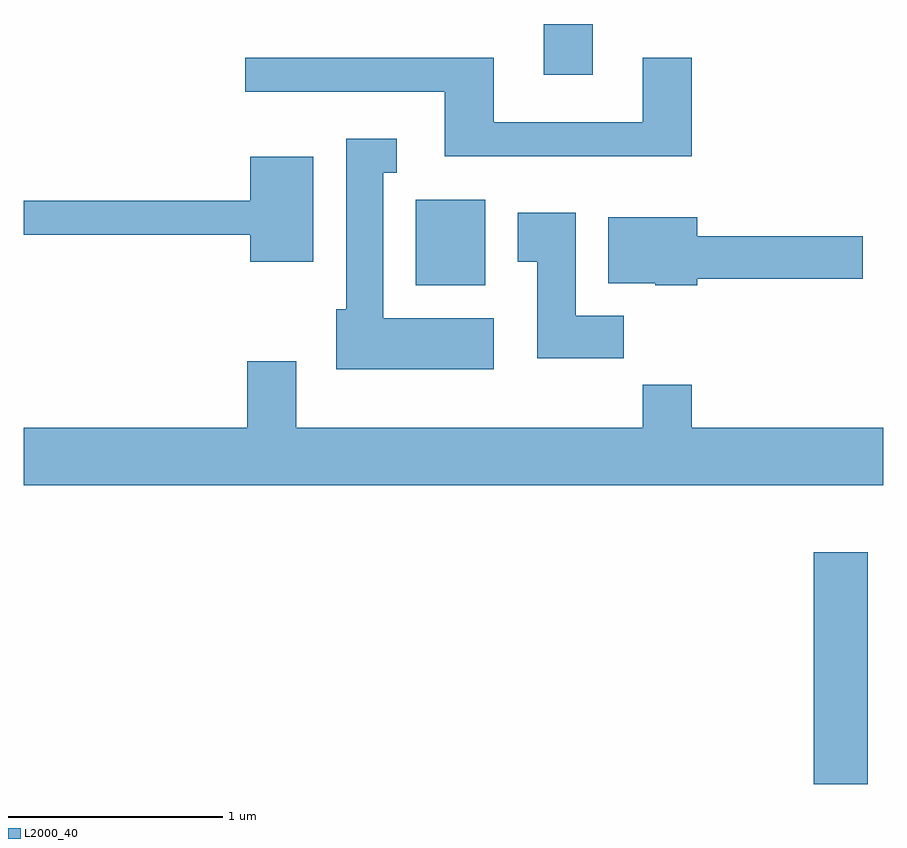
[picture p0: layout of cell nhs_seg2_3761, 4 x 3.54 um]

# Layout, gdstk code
import gdstk
lib = gdstk.Library(unit=1e-6, precision=1e-09)
def R(c, l, rs):  # rectangles x0, y0, x1, y1
    for r in rs: c.add(gdstk.rectangle(r[:2], r[2:], *l))
def P(c, l, *ps):  # polygons
    for p in ps: c.add(gdstk.Polygon(p, *l))
L2000_40 = (2000, 40)

nhs_seg2_3761 = lib.new_cell('nhs_seg2_3761')
R(nhs_seg2_3761, L2000_40, [(299.286,1040.266,299.539,1041.344), (297.436,1042.586,297.759,1042.984), (298.031,1043.566,298.259,1043.802)])
P(nhs_seg2_3761, L2000_40, [(298.719,1043.644),(298.491,1043.644),(298.491,1043.344),(297.799,1043.344),(297.799,1043.644),(296.643,1043.644),(296.643,1043.486),(297.571,1043.486),(297.571,1043.186),(298.719,1043.186)],
  [(297.799,1042.434),(297.284,1042.434),(297.284,1043.111),(297.348,1043.111),(297.348,1043.269),(297.111,1043.269),(297.111,1042.474),(297.066,1042.474),(297.066,1042.196),(297.799,1042.196)],
  [(296.959,1043.184),(296.666,1043.184),(296.666,1042.979),(295.611,1042.979),(295.611,1042.821),(296.666,1042.821),(296.666,1042.696),(296.959,1042.696)],
  [(298.404,1042.444),(298.179,1042.444),(298.179,1042.924),(297.911,1042.924),(297.911,1042.696),(298.001,1042.696),(298.001,1042.246),(298.404,1042.246)],
  [(298.744,1042.616),(299.514,1042.616),(299.514,1042.814),(298.744,1042.814),(298.744,1042.904),(298.331,1042.904),(298.331,1042.596),(298.55,1042.596),(298.55,1042.586),(298.744,1042.586)],
  [(299.611,1041.924),(298.719,1041.924),(298.719,1042.124),(298.491,1042.124),(298.491,1041.924),(296.879,1041.924),(296.879,1042.234),(296.651,1042.234),(296.651,1041.924),(295.611,1041.924),(295.611,1041.656),(299.611,1041.656)])

lib.write_gds('nhs_seg2_3761.gds')
